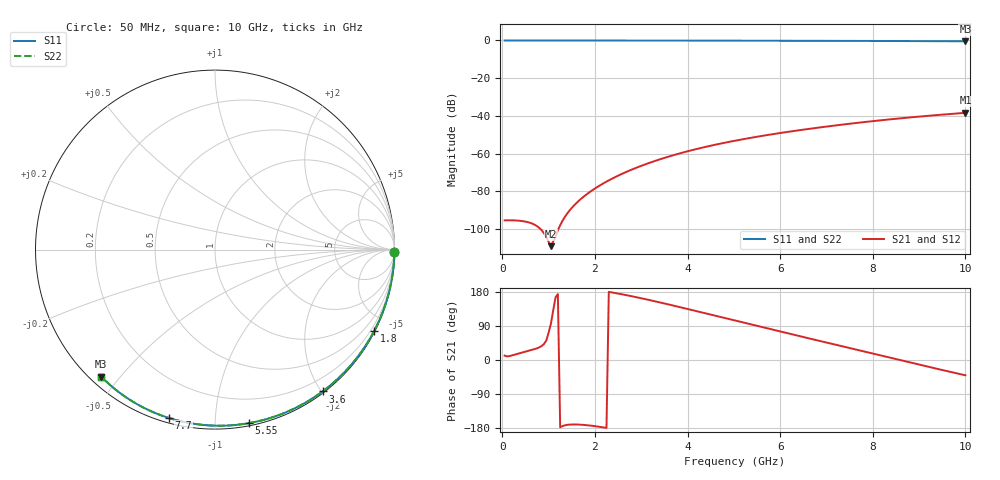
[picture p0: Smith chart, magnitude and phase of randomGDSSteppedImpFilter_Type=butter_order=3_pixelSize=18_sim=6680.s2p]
! freq	dB(S11)	phase(S11)	dB(S12)	phase(S12)
!  dB(S21)	phase(S21)	dB(S22)	phase(S22)
!S-par simulation data
#  GHz  S  DB  R 50
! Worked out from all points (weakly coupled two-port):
!   200 points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, 50 MHz to 10 GHz, reference 50 ohm
!   highest |S21| = -38.37 dB at 10 GHz (marker M1); lowest = -109.1 dB at 1.05 GHz (marker M2)
!   lowest |S11| = -0.4 dB at 10 GHz (marker M3), VSWR 39.04, Z = 1.54 - j22.3 ohm
!   |S11| at or under -10 dB: nowhere
!   |S22| runs from -0.4 to 0.0 dB; largest |S21 - S12| = 0
!   S11 on the Smith chart (normalised r, x): 50 MHz: open; 1.8 GHz: 0.04, -4.16; 3.6 GHz: 0.02, -2.01; 5.55 GHz: 0.02, -1.22; 7.7 GHz: 0.02, -0.76; 10 GHz: 0.03, -0.45
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0.05  -0.00 -0.8  -95.43 11.6  -95.43 11.6  -0.00 -0.8
0.55  -0.01 -8.3  -96.35 23.8  -96.35 23.8  -0.01 -8.3
1.05  -0.02 -15.9  -109.09 95.6  -109.09 95.6  -0.02 -15.9
1.75  -0.03 -26.3  -82.96 -171.2  -82.96 -171.2  -0.03 -26.3
1.8  -0.03 -27.0  -81.98 -171.8  -81.98 -171.8  -0.03 -27.0
1.9  -0.04 -28.5  -80.18 -173.1  -80.18 -173.1  -0.04 -28.5
2.25  -0.04 -33.6  -74.84 -179.2  -74.84 -179.2  -0.04 -33.6
2.55  -0.05 -37.9  -71.12 174.2  -71.12 174.2  -0.05 -37.9
2.95  -0.06 -43.7  -66.96 164.3  -66.96 164.3  -0.06 -43.7
3.4  -0.07 -50.0  -63.05 152.0  -63.05 152.0  -0.07 -50.0
3.6  -0.07 -52.8  -61.52 146.3  -61.52 146.3  -0.07 -52.8
3.9  -0.08 -57.0  -59.42 137.6  -59.42 137.6  -0.08 -57.0
4.3  -0.09 -62.4  -56.94 125.7  -56.94 125.7  -0.09 -62.4
4.65  -0.10 -67.1  -55.01 115.3  -55.01 115.3  -0.10 -67.1
5.05  -0.11 -72.4  -53.04 103.3  -53.04 103.3  -0.11 -72.4
5.55  -0.13 -78.9  -50.85 88.5  -50.85 88.5  -0.13 -78.9
6.1  -0.15 -85.9  -48.71 72.3  -48.71 72.3  -0.15 -85.9
6.7  -0.18 -93.3  -46.62 54.8  -46.62 54.8  -0.18 -93.3
7.7  -0.24 -105.3  -43.60 25.7  -43.60 25.7  -0.24 -105.3
8.35  -0.29 -113.0  -41.89 6.7  -41.89 6.7  -0.29 -113.0
9.15  -0.36 -122.2  -40.05 -16.5  -40.05 -16.5  -0.36 -122.2
10  -0.45 -131.8  -38.37 -40.3  -38.37 -40.3  -0.45 -131.8
